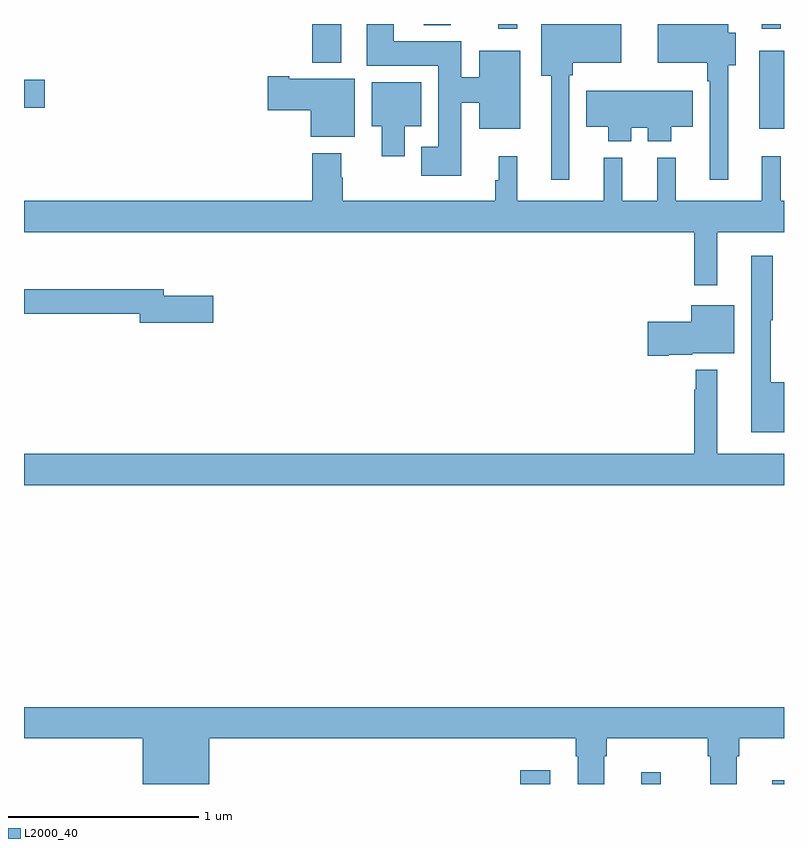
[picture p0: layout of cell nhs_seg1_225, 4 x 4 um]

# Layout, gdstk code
import gdstk
lib = gdstk.Library(unit=1e-6, precision=1e-09)
def R(c, l, rs):  # rectangles x0, y0, x1, y1
    for r in rs: c.add(gdstk.rectangle(r[:2], r[2:], *l))
def P(c, l, *ps):  # polygons
    for p in ps: c.add(gdstk.Polygon(p, *l))
L2000_40 = (2000, 40)

nhs_seg1_225 = lib.new_cell('nhs_seg1_225')
R(nhs_seg1_225, L2000_40, [(125.612,510.199,125.77,510.271), (126.248,510.199,126.35,510.262), (126.938,510.199,127,510.22), (126.869,513.647,127,514.057), (123,513.758,123.109,513.905), (124.517,513.995,124.669,514.199), (125.497,514.173,125.595,514.199), (126.884,514.173,126.983,514.199), (125.105,514.193,125.245,514.199)])
P(nhs_seg1_225, L2000_40, [(126.706,513.983),(126.745,513.983),(126.745,514.153),(126.706,514.153),(126.706,514.199),(126.336,514.199),(126.336,513.995),(126.597,513.995),(126.597,513.899),(126.609,513.899),(126.609,513.378),(126.706,513.378)],
  [(125.871,513.93),(125.889,513.93),(125.889,513.995),(126.144,513.995),(126.144,514.199),(125.723,514.199),(125.723,513.926),(125.774,513.926),(125.774,513.378),(125.871,513.378)],
  [(125.302,513.784),(125.396,513.784),(125.396,513.647),(125.611,513.647),(125.611,514.057),(125.396,514.057),(125.396,513.92),(125.302,513.92),(125.302,514.108),(124.945,514.108),(124.945,514.199),(124.805,514.199),(124.805,513.98),(125.18,513.98),(125.18,513.553),(125.09,513.553),(125.09,513.401),(125.302,513.401)],
  [(124.741,513.91),(124.396,513.91),(124.396,513.923),(124.284,513.923),(124.284,513.745),(124.508,513.745),(124.508,513.605),(124.741,513.605)],
  [(125.005,513.662),(125.092,513.662),(125.092,513.892),(124.829,513.892),(124.829,513.662),(124.883,513.662),(124.883,513.504),(125.005,513.504)],
  [(126.196,513.652),(126.284,513.652),(126.284,513.581),(126.406,513.581),(126.406,513.659),(126.52,513.659),(126.52,513.847),(125.96,513.847),(125.96,513.659),(126.074,513.659),(126.074,513.581),(126.196,513.581)],
  [(126.649,513.104),(127,513.104),(127,513.268),(126.983,513.268),(126.983,513.502),(126.884,513.502),(126.884,513.268),(126.431,513.268),(126.431,513.496),(126.332,513.496),(126.332,513.268),(126.149,513.268),(126.149,513.496),(126.05,513.496),(126.05,513.268),(125.597,513.268),(125.597,513.502),(125.498,513.502),(125.498,513.377),(125.479,513.377),(125.479,513.268),(124.677,513.268),(124.677,513.389),(124.669,513.389),(124.669,513.52),(124.517,513.52),(124.517,513.268),(123,513.268),(123,513.104),(126.528,513.104),(126.528,512.823),(126.649,512.823)],
  [(127,512.314),(126.931,512.314),(126.931,512.639),(126.941,512.639),(126.941,512.98),(126.827,512.98),(126.827,512.051),(127,512.051)],
  [(123.997,512.769),(123.736,512.769),(123.736,512.803),(123,512.803),(123,512.674),(123.608,512.674),(123.608,512.627),(123.997,512.627)],
  [(126.394,512.459),(126.516,512.459),(126.516,512.465),(126.739,512.465),(126.739,512.719),(126.512,512.719),(126.512,512.631),(126.282,512.631),(126.282,512.453),(126.394,512.453)],
  [(127,511.936),(126.649,511.936),(126.649,512.38),(126.535,512.38),(126.535,512.273),(126.528,512.273),(126.528,511.936),(123,511.936),(123,511.772),(127,511.772)],
  [(123.976,510.44),(125.903,510.44),(125.903,510.344),(125.915,510.344),(125.915,510.199),(126.055,510.199),(126.055,510.344),(126.068,510.344),(126.068,510.44),(126.599,510.44),(126.599,510.344),(126.611,510.344),(126.611,510.199),(126.751,510.199),(126.751,510.344),(126.764,510.344),(126.764,510.44),(127,510.44),(127,510.604),(123,510.604),(123,510.44),(123.626,510.44),(123.626,510.199),(123.976,510.199)])

lib.write_gds('nhs_seg1_225.gds')
